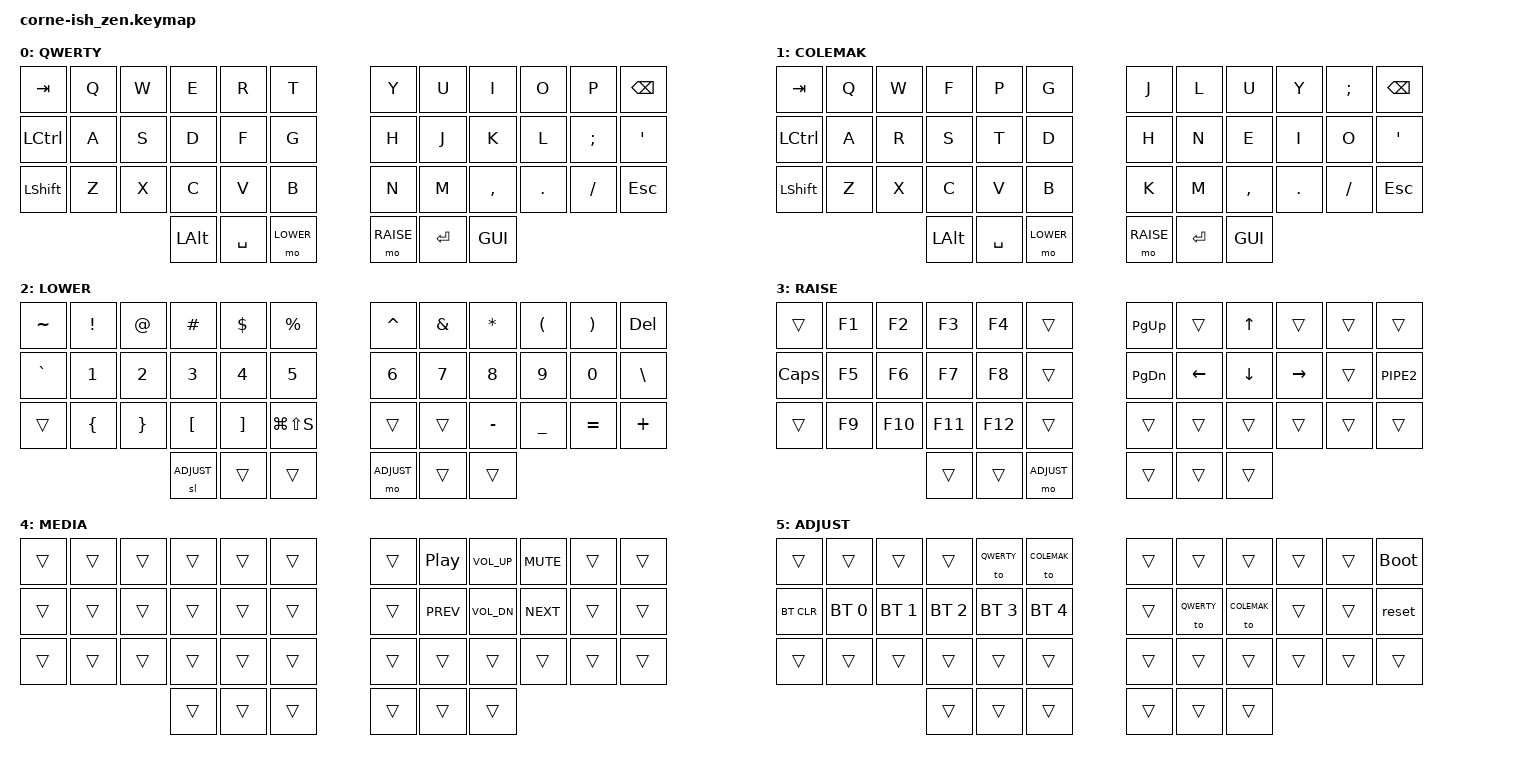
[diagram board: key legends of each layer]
/*
 * Copyright (c) 2020 The ZMK Contributors
 *
 * SPDX-License-Identifier: MIT
 */

#include <behaviors.dtsi>
#include <dt-bindings/zmk/keys.h>
#include <dt-bindings/zmk/bt.h>

#define QWERTY  0
#define COLEMAK 1
#define LOWER   2
#define RAISE   3
#define MEDIA   4
#define ADJUST  5

&sl {
    release-after-ms = <2000>;
};

/ {
        keymap {
                compatible = "zmk,keymap"; 

                default_layer {
                        label = "QWERTY";
// -----------------------------------------------------------------------------------------
// | TAB  |  Q  |  W  |  E  |  R  |  T  |   |  Y  |  U   |  I  |  O  |  P  | BKSP |
// | ESC  |  A  |  S  |  D  |  F  |  G  |   |  H  |  J   |  K  |  L  |  ;  |  '   |
// | SHFT |  Z  |  X  |  C  |  V  |  B  |   |  N  |  M   |  ,  |  .  |  /  | ENT  |
//                    | ALT | LWR | SPC |   | GUI | RSE  | CTRL|
                        bindings = <
   &kp TAB   &kp Q &kp W  &kp E     &kp R     &kp T         &kp Y     &kp U     &kp I     &kp O   &kp P    &kp BSPC
   &kp LCTL  &kp A &kp S  &kp D     &kp F     &kp G         &kp H     &kp J     &kp K     &kp L   &kp SEMI &kp SQT
   &kp LSHFT &kp Z &kp X  &kp C     &kp V     &kp B         &kp N     &kp M     &kp COMMA &kp DOT &kp FSLH &kp ESC
                          &kp LALT  &kp SPACE &mo LOWER     &mo RAISE &kp RET &kp GUI
                        >;
                };

                colemak_layer {
                        label = "COLEMAK";
// -----------------------------------------------------------------------------------------
// | TAB  |  Q  |  W  |  F  |  P  |  G  |   |  J  |  L   |  U  |  Y  |  ;  | BKSP |
// | CTRL |  A  |  R  |  S  |  T  |  D  |   |  H  |  N   |  E  |  I  |  O  |  '   |
// | SHFT |  Z  |  X  |  C  |  V  |  B  |   |  K  |  M   |  ,  |  .  |  /  | ESC  |
//                    | GUI | LWR | SPC |   | ENT | RSE  | ALT |
                        bindings = <
   &kp TAB   &kp Q &kp W   &kp F    &kp P      &kp G        &kp J     &kp L     &kp U     &kp Y   &kp SEMI &kp BSPC
   &kp LCTL  &kp A &kp R   &kp S    &kp T      &kp D        &kp H     &kp N     &kp E     &kp I   &kp O    &kp SQT
   &kp LSHFT &kp Z &kp X   &kp C    &kp V      &kp B        &kp K     &kp M     &kp COMMA &kp DOT &kp FSLH &kp ESC
                           &kp LALT &kp SPACE  &mo LOWER    &mo RAISE &kp RET   &kp GUI
                        >;
                };

                lower_layer {
                        label = "LOWER";
// -----------------------------------------------------------------------------------------
// |TILDE |  !  |  @  |  #  |  $  |  %  |   |  ^  |  &  |  *  |  (  |  )  | DEL  |
// |GRAVE |  1  |  2  |  3  |  4  |  5  |   |  6  |  7  |  8  |  9  |  0  |  \   |
// |      |  {  |  }  |  [  |  ]  |SNIP |   |     |     |  -  |  _  |  =  |  +   |  
//                    |     |     |     |   |     |ADJST|     |
                        bindings = <
   &kp TILDE  &kp EXCL &kp AT    &kp HASH    &kp DLLR   &kp PRCNT         &kp CARET  &kp AMPS    &kp STAR   &kp LPAR   &kp RPAR  &kp DEL
   &kp GRAVE  &kp N1   &kp N2    &kp N3      &kp N4     &kp N5            &kp N6     &kp N7      &kp N8     &kp N9     &kp N0    &kp BSLH
   &trans     &kp LBRC &kp RBRC  &kp LBKT    &kp RBKT   &kp LG(LS(S))     &trans     &trans      &kp MINUS  &kp UNDER  &kp EQUAL &kp PLUS
                                 &sl ADJUST  &trans     &trans            &mo ADJUST &trans    &trans
                        >;
                };

                raise_layer {
                        label = "RAISE";
// -----------------------------------------------------------------------------------------
// |      |  F1 |  F2 |  F3 |  F4 |     |   |PGUP |     |  UP |     |     |      |
// | CAPS |  F5 |  F6 |  F7 |  F8 |     |   |PGDN |LEFT |DOWN |RIGHT|     |  |   |
// |      |  F9 | F10 | F11 | F12 |     |   |     |     |     |     |     |      |
//                    |     |ADJST|     |   |     |     |     |
                        bindings = <
   &trans    &kp F1  &kp F2  &kp F3   &kp F4      &trans      &kp PG_UP &trans    &kp UP     &trans    &trans   &trans
   &kp CAPS  &kp F5  &kp F6  &kp F7   &kp F8      &trans      &kp PG_DN &kp LEFT  &kp DOWN   &kp RIGHT &trans   &kp PIPE2
   &trans    &kp F9  &kp F10 &kp F11  &kp F12     &trans      &trans    &trans    &trans     &trans    &trans   &trans 
                    	     &trans   &trans      &mo ADJUST  &trans    &trans    &trans
                        >;
                };

                media_layer {
                        label = "MEDIA";
// -----------------------------------------------------------------------------------------
// |      |     |     |     |     |     |   |     |PLAY |VOL+ |MUTE |     |MEDIA |
// |      |     |     |     |     |     |   |     |PREV |VOL- |NEXT |     |      |
// |      |     |     |     |     |     |   |     |     |     |     |     |      |
//                    |     |     |     |   |     |     |     |
                        bindings = <
   &trans &trans &trans &trans &trans &trans   &trans &kp C_PP   &kp C_VOL_UP &kp K_MUTE &trans &trans
   &trans &trans &trans &trans &trans &trans   &trans &kp C_PREV &kp C_VOL_DN &kp C_NEXT &trans &trans
   &trans &trans &trans &trans &trans &trans   &trans &trans     &trans       &trans     &trans &trans
                        &trans &trans &trans   &trans &trans     &trans
                        >;
                };

                adjust_layer {
                        label = "ADJUST";
// -----------------------------------------------------------------------------------------
// |      |     |     |     |QWERT|COLMK|   |     |     |     |     |     |BOOT |
// |BT CLR| BT1 | BT2 | BT3 | BT4 | BT5 |   |     |QWERT|COLMK|     |     |RESET|
// |      |     |     |     |     |     |   |     |     |     |     |     |     |
//                    |     |     |     |   |     |     |     |
                        bindings = <
   &trans     &trans       &trans       &trans       &to QWERTY   &to COLEMAK    &trans  &trans     &trans      &trans &trans &bootloader
   &bt BT_CLR &bt BT_SEL 0 &bt BT_SEL 1 &bt BT_SEL 2 &bt BT_SEL 3 &bt BT_SEL 4   &trans  &to QWERTY &to COLEMAK &trans &trans &reset
   &trans     &trans       &trans       &trans       &trans       &trans         &trans  &trans     &trans      &trans &trans &trans
                                        &trans       &trans       &trans         &trans  &trans     &trans
                        >;
                };
        };
};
